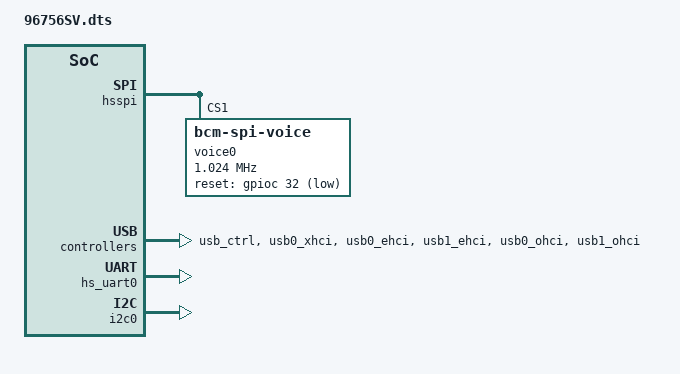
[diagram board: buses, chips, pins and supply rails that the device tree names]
#include "6756.dtsi"
#include "../bcm_voice.dtsi"


/ {
	memory_controller {
		memcfg = <(BP_DDR_SPEED_1067_14_14_14 | \
			BP_DDR_TOTAL_SIZE_512MB    | \
			BP_DDR_DEVICE_WIDTH_16     | \
			BP_DDR_TOTAL_WIDTH_16BIT   | \
			BP_DDR_6756_DEFAULT)>;
	};

	buttons {
		compatible = "brcm,buttons";
		reset_button {
			ext_irq = <&bca_extintr 39 BCA_GPIO_ACTIVE_LOW (BCA_EXTINTR_TYPE_LOW_LEVEL | BCA_EXTINTR_TYPE_SENSE_EDGE)>;
			press {
				print = "Button Press -- Hold for 5s to do restore to default";
			};
			hold {
				rst_to_dflt = <5>;
			};
			release {
				reset = <0>;
			};	
		};
		ses_button {
			ext_irq = <&bca_extintr 38 BCA_GPIO_ACTIVE_LOW (BCA_EXTINTR_TYPE_LOW_LEVEL | BCA_EXTINTR_TYPE_SENSE_EDGE)>;
			release {
				ses_short_period = <0>;
				ses_long_period = <3>;
			};
		};
	};
};

&bcm_voice{
	sliclist = SLICSLAC_LIST_COMMON_NOFXO;
 };

&hsspi {
	voice0 {
		pinctrl-0 = <&spim_ss1_b_pin_76>;
		pinctrl-names = "default";
		compatible = "bcm-spi-voice";
		reg = <1>; /* chip select 1 */
		spi-max-frequency = <1024000>;
		reset-gpio = <&gpioc 32 GPIO_ACTIVE_LOW>;
		/*reset-gpio = <&gpioc 20 GPIO_ACTIVE_LOW>;*//*per schematic*/
		spi-index = <0>;/* voice header index */
	};
};

&mdio_sf2 {
	phy_ge:8 {
		status = "okay";
	};
	phy_rgmii:rgmii {
		reg = <24>;
		status = "okay";
	};
	phy_serdes0:serdes0 {
		status = "okay";
	};
};

&switch0 {
	pinctrl-names = "default", "rgmii"; 
	pinctrl-0 = <&a_rgmii_mdc_pin_68 &a_rgmii_mdio_pin_69 &rgmii_pins>; 
	pinctrl-1 = <&rgmii_pins>; 

	ports {
		port0@0 {
			phy-handle = <&phy_ge>;
			status = "okay";
		};
		port1@1 {
			phy-handle = <&phy_rgmii>;
			mii-pinctrl-state = "rgmii";
			phy-mode = "rgmii";
			rgmii-1p8v;
			status = "disabled";
		};
		port5@5 {
			phy-handle = <&phy_serdes0>;    /* SFP */
			status = "okay";
		};
	};
};

&usb_ctrl {
	pinctrl-names="default";
	pinctrl-0 = <&usb0_pwr_pins &usb1_pwr_pins>;
	status = "okay";
	xhci-enable;
};

&usb0_xhci {
	status = "okay";
};

&usb0_ehci {
	status = "okay";
};

&usb1_ehci {
	status = "okay";
};

&usb0_ohci {
	status = "okay";
};

&usb1_ohci {
	status = "okay";
};

&hs_uart0 {
	status = "okay";
};

&i2c0 {
	pinctrl-names="default";
	pinctrl-0 = <&i2c_sda_pin_16 &i2c_scl_pin_17>;
	status = "okay";
};
